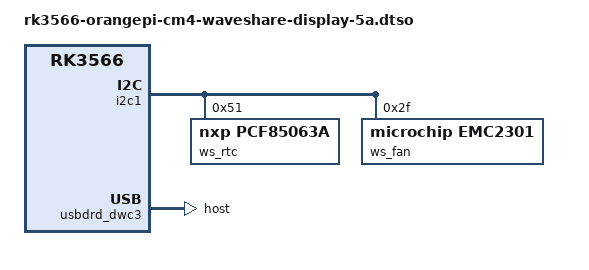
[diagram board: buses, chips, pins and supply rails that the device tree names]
/*
 * Orange Pi CM4 + Waveshare CM4-DISP-BASE-5A（VER2）底板外设 overlay：
 * RTC、风扇、USB host。5" DSI 屏单独放在
 * rk3566-orangepi-cm4-waveshare-display-5a-panel.dtso，原因见该文件头。
 *
 * 底板外设与 CM4 引脚 → RK3566 控制器映射：
 *
 *   CM4 引脚             RK3566        底板外设
 *   SCL0/SDA0 (80/82)    i2c1          屏控 MCU @0x45、触摸 @0x38、
 *                                      RTC PCF85063A @0x51、风扇 EMC2301 @0x2f
 *   DSI1 lanes           dsi1          5" DSI 屏（见 -panel.dtso）
 *   USB2                 usbdrd_dwc3   FSUSB42 开关：BOOT 拨码 OFF → FE1.1s
 *                                      4 口 USB2 hub；ON → Type-C 烧录口
 *   GPIO2/3 (40pin 3/5)  i2c2 (m1)     40PIN I2C；RTC/FAN 跳线可改挂这里
 *
 * i2c1 ↔ SCL0/SDA0、dsi1 ↔ CM4 DSI1 的对应关系取自 vendor
 * rk3566-orangepi-cm4.dtsi：它照搬树莓派 CM4 惯例，把 raspits_panel@45 /
 * ft5426@38 挂在 i2c1 并连到 dsi1（另一组挂 i2c3 = ID_SD/ID_SC 连 dsi0）。
 *
 * 全部 fragment 走 &label / &{/path} target，根级 / 下不新增节点（根级
 * 裸节点会让 U-Boot fdt_overlay_apply 报 FDT_ERR_BADOVERLAY）。
 */

/dts-v1/;
/plugin/;

/ {
	compatible = "rockchip,rk3566-orangepi-cm4";

	metadata {
		title = "Waveshare CM4-DISP-BASE-5A VER2 baseboard for Orange Pi CM4";
		compatible = "rockchip,rk3566-orangepi-cm4";
		category = "misc";
		exclusive = "&usbdrd_dwc3";
		description = "PCF85063A RTC, EMC2301 fan, USB host for the onboard hub.";
	};
};

/* ---- RTC 与风扇（RTC/FAN I2C 跳线默认 SDA0/SCL0 → i2c1）---- */

&i2c1 {
	#address-cells = <1>;
	#size-cells = <0>;

	/* 中断脚经 SN74LVC1G07 默认接 PI_RUN（闹钟触发复位），不接 SoC GPIO。 */
	ws_rtc: rtc@51 {
		compatible = "nxp,pcf85063a";
		reg = <0x51>;
	};

	/*
	 * 转速闭环与 PWM 由芯片完成；温控策略在用户态
	 * （waveshare-fan.service）：RK3566 两路 tsadc 已被 soc/gpu 热区独占，
	 * 且二者用 power_allocator governor，非功率型 cooling device 不会被驱动。
	 */
	ws_fan: fan@2f {
		compatible = "microchip,emc2301";
		reg = <0x2f>;
	};
};

/*
 * 带 CR1220 电池的 PCF85063A 固定为 rtc0：内核 hctosys 与 /dev/rtc 默认都用
 * rtc0。RK809 自带的 RTC（无后备电池）让到 rtc1；它是 MFD 子设备、没有自己的
 * of_node，按父节点 pmic@20 取别名。不显式占位的话，先 probe 的 RK809 会抢走
 * ID 0，导致 rtc0 别名失效。
 */
&{/aliases} {
	rtc0 = "/i2c@fe5a0000/rtc@51";
	rtc1 = "/i2c@fdd40000/pmic@20";
};

/* ---- USB：CM4 USB2 口平时接板载 4 口 hub ---- */

/*
 * BOOT 拨码 OFF（正常启动）时 FSUSB42 把 USB0 切到 FE1.1s hub，底板 ID 脚
 * 悬空，OTG 会停在 peripheral，hub 下的 4 个口全部不可用，所以固定 host。
 * 代价是没有 USB gadget（USB adb）；调试改走千兆网口 ssh。
 */
&usbdrd_dwc3 {
	dr_mode = "host";
};
